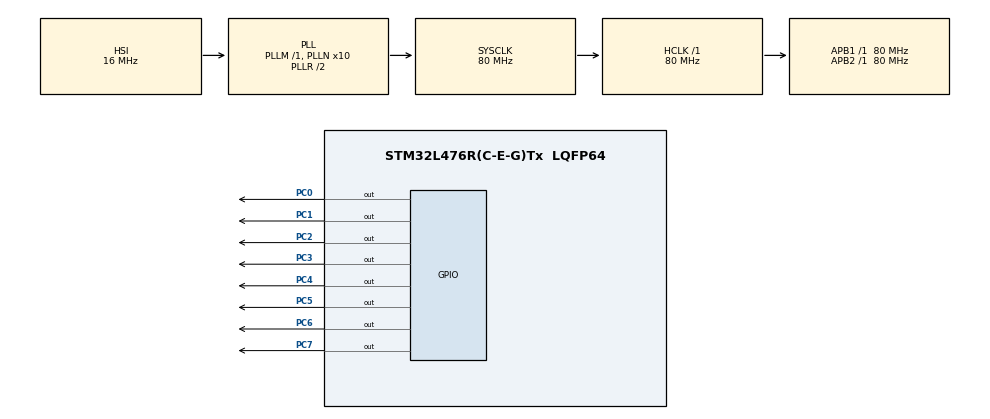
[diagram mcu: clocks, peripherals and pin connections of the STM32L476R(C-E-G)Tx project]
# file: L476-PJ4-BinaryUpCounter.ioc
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Mcu.Family=STM32L4
Mcu.Name=STM32L476R(C-E-G)Tx
Mcu.Package=LQFP64
NVIC.PriorityGroup=NVIC_PRIORITYGROUP_4
PC0.Signal=GPIO_Output
PC1.Signal=GPIO_Output
PC2.Signal=GPIO_Output
PC3.Signal=GPIO_Output
PC4.Signal=GPIO_Output
PC5.Signal=GPIO_Output
PC6.Signal=GPIO_Output
PC7.Signal=GPIO_Output
ProjectManager.HeapSize=0x200
ProjectManager.StackSize=0x400
ProjectManager.TargetToolchain=STM32CubeIDE
RCC.ADCFreq_Value=64000000
RCC.AHBFreq_Value=80000000
RCC.APB1Freq_Value=80000000
RCC.APB1TimFreq_Value=80000000
RCC.APB2Freq_Value=80000000
RCC.APB2TimFreq_Value=80000000
RCC.CortexFreq_Value=80000000
RCC.HCLKFreq_Value=80000000
RCC.HSE_VALUE=8000000
RCC.HSI_VALUE=16000000
RCC.MSI_VALUE=4000000
RCC.PLLN=10
RCC.PLLSourceVirtual=RCC_PLLSOURCE_HSI
RCC.PREFETCH_ENABLE=1
RCC.SYSCLKFreq_VALUE=80000000
RCC.SYSCLKSource=RCC_SYSCLKSOURCE_PLLCLK
RCC.USBFreq_Value=64000000
RCC.VCOOutputFreq_Value=160000000
board=NUCLEO-L476RG

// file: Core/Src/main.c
/* USER CODE BEGIN Header */
/**
  ******************************************************************************
  * @file           : main.c
  * @brief          : Main program body
  ******************************************************************************
  * @attention
  *
  * Copyright (c) 2026 STMicroelectronics.
  * All rights reserved.
  *
  * This software is licensed under terms that can be found in the LICENSE file
  * in the root directory of this software component.
  * If no LICENSE file comes with this software, it is provided AS-IS.
  *
  ******************************************************************************
  */
/* USER CODE END Header */
#include "main.h"
/* USER CODE BEGIN Includes */
#include <stdint.h>
#define led0 GPIO_PIN_0
#define led1 GPIO_PIN_1
#define led2 GPIO_PIN_2
#define led3 GPIO_PIN_3
#define led4 GPIO_PIN_4
#define led5 GPIO_PIN_5
#define led6 GPIO_PIN_6
#define led7 GPIO_PIN_7
uint16_t LEDS[]={led0,led1,led2,led3,led4,led5,led6,led7};
/* USER CODE END Includes */

void SystemClock_Config(void);
static void MX_GPIO_Init(void);

/* USER CODE BEGIN 0 */
void Display(uint8_t number, uint8_t size){
  for (uint8_t i=0; i<size;i++)
	  {
		  if(number &(1<<i)){
			  HAL_GPIO_WritePin(GPIOC,LEDS[i],GPIO_PIN_SET);
		  }else{
			  HAL_GPIO_WritePin(GPIOC,LEDS[i],GPIO_PIN_RESET);
		  }
	  }
 }

/* USER CODE END 0 */

int main(void)
{

  /* MCU Configuration--------------------------------------------------------*/

  /* Reset of all peripherals, Initializes the Flash interface and the Systick. */
  HAL_Init();

  /* Configure the system clock */
  SystemClock_Config();

  /* Initialize all configured peripherals */
  MX_GPIO_Init();

  /* Infinite loop */
  /* USER CODE BEGIN WHILE */
  while (1)
  {
	  for(uint8_t i=0; i<256;i++){
		  Display(i,8);
		  HAL_Delay(1000);
	  }
  }
    /* USER CODE END WHILE */

  }

void SystemClock_Config(void)
{
  RCC_OscInitTypeDef RCC_OscInitStruct = {0};
  RCC_ClkInitTypeDef RCC_ClkInitStruct = {0};

  /** Configure the main internal regulator output voltage
  */
  if (HAL_PWREx_ControlVoltageScaling(PWR_REGULATOR_VOLTAGE_SCALE1) != HAL_OK)
  {
    Error_Handler();
  }

  /** Initializes the RCC Oscillators according to the specified parameters
  * in the RCC_OscInitTypeDef structure.
  */
  RCC_OscInitStruct.OscillatorType = RCC_OSCILLATORTYPE_HSI;
  RCC_OscInitStruct.HSIState = RCC_HSI_ON;
  RCC_OscInitStruct.HSICalibrationValue = RCC_HSICALIBRATION_DEFAULT;
  RCC_OscInitStruct.PLL.PLLState = RCC_PLL_ON;
  RCC_OscInitStruct.PLL.PLLSource = RCC_PLLSOURCE_HSI;
  RCC_OscInitStruct.PLL.PLLM = 1;
  RCC_OscInitStruct.PLL.PLLN = 10;
  RCC_OscInitStruct.PLL.PLLP = RCC_PLLP_DIV7;
  RCC_OscInitStruct.PLL.PLLQ = RCC_PLLQ_DIV2;
  RCC_OscInitStruct.PLL.PLLR = RCC_PLLR_DIV2;
  if (HAL_RCC_OscConfig(&RCC_OscInitStruct) != HAL_OK)
  {
    Error_Handler();
  }

  /** Initializes the CPU, AHB and APB buses clocks
  */
  RCC_ClkInitStruct.ClockType = RCC_CLOCKTYPE_HCLK|RCC_CLOCKTYPE_SYSCLK
                              |RCC_CLOCKTYPE_PCLK1|RCC_CLOCKTYPE_PCLK2;
  RCC_ClkInitStruct.SYSCLKSource = RCC_SYSCLKSOURCE_PLLCLK;
  RCC_ClkInitStruct.AHBCLKDivider = RCC_SYSCLK_DIV1;
  RCC_ClkInitStruct.APB1CLKDivider = RCC_HCLK_DIV1;
  RCC_ClkInitStruct.APB2CLKDivider = RCC_HCLK_DIV1;

  if (HAL_RCC_ClockConfig(&RCC_ClkInitStruct, FLASH_LATENCY_4) != HAL_OK)
  {
    Error_Handler();
  }
}

static void MX_GPIO_Init(void)
{
  GPIO_InitTypeDef GPIO_InitStruct = {0};

  /* GPIO Ports Clock Enable */
  __HAL_RCC_GPIOC_CLK_ENABLE();

  /*Configure GPIO pin Output Level */
  HAL_GPIO_WritePin(GPIOC, GPIO_PIN_0|GPIO_PIN_1|GPIO_PIN_2|GPIO_PIN_3
                          |GPIO_PIN_4|GPIO_PIN_5|GPIO_PIN_6|GPIO_PIN_7, GPIO_PIN_RESET);

  /*Configure GPIO pins : PC0 PC1 PC2 PC3
                           PC4 PC5 PC6 PC7 */
  GPIO_InitStruct.Pin = GPIO_PIN_0|GPIO_PIN_1|GPIO_PIN_2|GPIO_PIN_3
                          |GPIO_PIN_4|GPIO_PIN_5|GPIO_PIN_6|GPIO_PIN_7;
  GPIO_InitStruct.Mode = GPIO_MODE_OUTPUT_PP;
  GPIO_InitStruct.Pull = GPIO_NOPULL;
  GPIO_InitStruct.Speed = GPIO_SPEED_FREQ_LOW;
  HAL_GPIO_Init(GPIOC, &GPIO_InitStruct);

}

void Error_Handler(void)
{
  __disable_irq();
  while (1)
  {
  }
}
